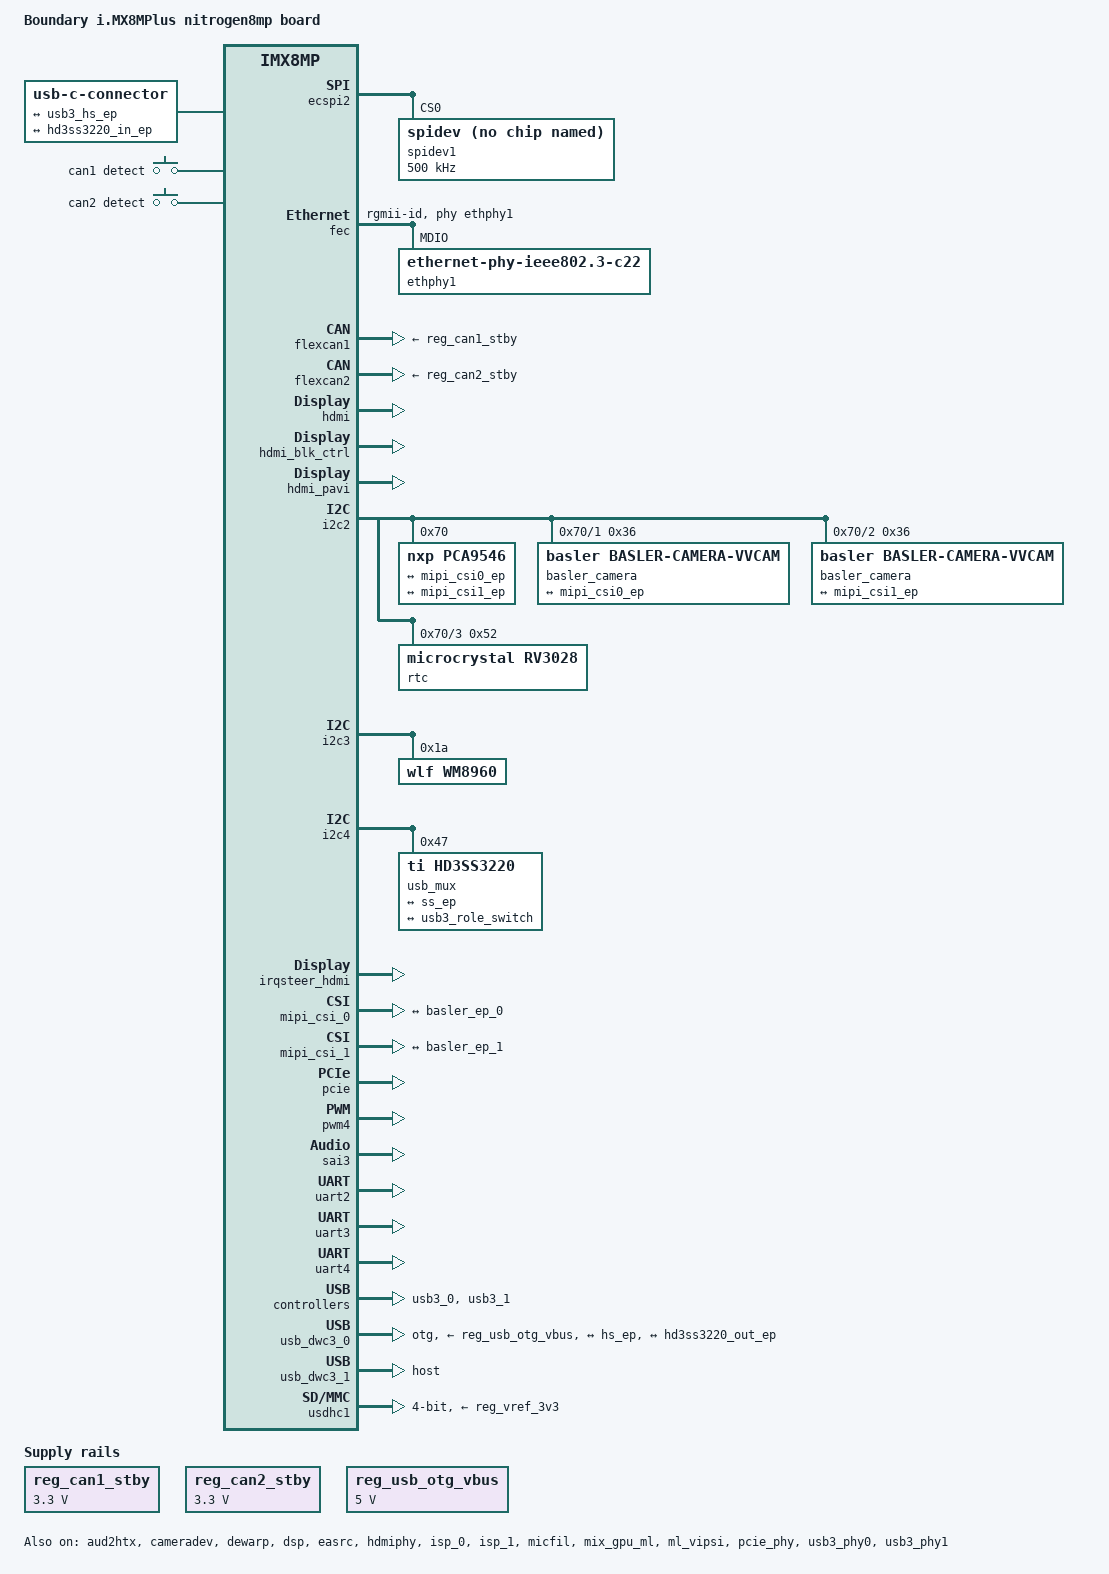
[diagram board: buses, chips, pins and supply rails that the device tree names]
// SPDX-License-Identifier: (GPL-2.0+ OR MIT)
/*
 * Copyright 2020 Boundary Devices
 */

/dts-v1/;

#include <dt-bindings/usb/pd.h>
#include "imx8mp-nitrogen8mp-som.dtsi"

&iomuxc {
	pinctrl-names = "default";
	pinctrl-0 = <&pinctrl_hog>;

	pinctrl_ecspi2: ecspi2grp {
		fsl,pins = <
			/* J31 */
			MX8MP_IOMUXC_ECSPI2_SCLK__ECSPI2_SCLK		0x82	/* Pin 20 */
			MX8MP_IOMUXC_ECSPI2_MOSI__ECSPI2_MOSI		0x82	/* Pin 10 */
			MX8MP_IOMUXC_ECSPI2_MISO__ECSPI2_MISO		0x82	/* Pin 8 */
#define GP_ECSPI2_CS	<&gpio5 13 GPIO_ACTIVE_LOW>
			MX8MP_IOMUXC_ECSPI2_SS0__GPIO5_IO13		0x143	/* Pin 6 */
		>;
	};

	pinctrl_fec: fecgrp {
		fsl,pins = <
			MX8MP_IOMUXC_SAI1_RXD2__ENET1_MDC		0x0
			MX8MP_IOMUXC_SAI1_RXD3__ENET1_MDIO		0xa0
			MX8MP_IOMUXC_SAI1_TXD4__ENET1_RGMII_TX_CTL	0x1f
			MX8MP_IOMUXC_SAI1_TXD5__ENET1_RGMII_TXC		0x1f
			MX8MP_IOMUXC_SAI1_TXD0__ENET1_RGMII_TD0		0x1f
			MX8MP_IOMUXC_SAI1_TXD1__ENET1_RGMII_TD1		0x1f
			MX8MP_IOMUXC_SAI1_TXD2__ENET1_RGMII_TD2		0x1f
			MX8MP_IOMUXC_SAI1_TXD3__ENET1_RGMII_TD3		0x1f

			MX8MP_IOMUXC_SAI1_TXFS__ENET1_RGMII_RX_CTL	0x91
			MX8MP_IOMUXC_SAI1_TXC__ENET1_RGMII_RXC		0x91
			MX8MP_IOMUXC_SAI1_RXD4__ENET1_RGMII_RD0		0x91
			MX8MP_IOMUXC_SAI1_RXD5__ENET1_RGMII_RD1		0x91
			MX8MP_IOMUXC_SAI1_RXD6__ENET1_RGMII_RD2		0x91
			MX8MP_IOMUXC_SAI1_RXD7__ENET1_RGMII_RD3		0x91
#define GP_FEC_RESET	<&gpio5 8 GPIO_ACTIVE_LOW>
			MX8MP_IOMUXC_ECSPI1_MISO__GPIO5_IO08		0x100
#define GPIRQ_FEC_PHY	<&gpio1 7 IRQ_TYPE_LEVEL_LOW>
			MX8MP_IOMUXC_GPIO1_IO07__GPIO1_IO07		0x10
		>;
	};

	pinctrl_flexcan1: flexcan1grp {
		fsl,pins = <
			MX8MP_IOMUXC_SAI5_RXD2__CAN1_RX		0x154
			MX8MP_IOMUXC_SAI5_RXD1__CAN1_TX		0x154
		>;
	};

	pinctrl_flexcan1_reg: flexcan1reggrp {
		fsl,pins = <
#define GP_CAN1_STANDBY	<&gpio3 20 GPIO_ACTIVE_HIGH>
			MX8MP_IOMUXC_SAI5_RXC__GPIO3_IO20	0x154	/* CAN1_STBY */
		>;
	};

	pinctrl_flexcan2: flexcan2grp {
		fsl,pins = <
			MX8MP_IOMUXC_SAI5_MCLK__CAN2_RX		0x154
			MX8MP_IOMUXC_SAI5_RXD3__CAN2_TX		0x154
		>;
	};

	pinctrl_flexcan2_reg: flexcan2reggrp {
		fsl,pins = <
#define GP_CAN2_STANDBY	<&gpio2 9 GPIO_ACTIVE_HIGH>
			MX8MP_IOMUXC_SD1_DATA7__GPIO2_IO09	0x154	/* CAN2_STBY */
		>;
	};

	pinctrl_key_can1: key-can1grp {
		fsl,pins = <
#define GP_CAN1_DETECT		<&gpio1 11 GPIO_ACTIVE_HIGH>
			MX8MP_IOMUXC_GPIO1_IO11__GPIO1_IO11	0x16
		>;
	};

	pinctrl_key_can2: key-can2grp {
		fsl,pins = <
#define GP_CAN2_DETECT		<&gpio4 23 GPIO_ACTIVE_HIGH>
			MX8MP_IOMUXC_SAI2_RXD0__GPIO4_IO23	0x180
		>;
	};

	pinctrl_hog: hoggrp {
		fsl,pins = <
			MX8MP_IOMUXC_HDMI_DDC_SCL__HDMIMIX_HDMI_SCL	0x400001c3
			MX8MP_IOMUXC_HDMI_DDC_SDA__HDMIMIX_HDMI_SDA	0x400001c3
			MX8MP_IOMUXC_HDMI_HPD__HDMIMIX_HDMI_HPD		0x40000019
			MX8MP_IOMUXC_HDMI_CEC__HDMIMIX_HDMI_CEC		0x40000019
			MX8MP_IOMUXC_NAND_DATA01__GPIO3_IO07		0x119
			/* J31 */
			MX8MP_IOMUXC_SPDIF_RX__GPIO5_IO04		0x41	/* Pin 17 */
			MX8MP_IOMUXC_SPDIF_EXT_CLK__GPIO5_IO05		0x41	/* Pin 19 */
			MX8MP_IOMUXC_SPDIF_TX__GPIO5_IO03		0x41	/* Pin 21 */
			MX8MP_IOMUXC_SD1_RESET_B__GPIO2_IO10		0x41	/* Pin 23 */
			MX8MP_IOMUXC_SD1_DATA6__GPIO2_IO08		0x41	/* Pin 25 */
			MX8MP_IOMUXC_SD1_DATA5__GPIO2_IO07		0x41	/* Pin 29 */
			MX8MP_IOMUXC_SD1_DATA4__GPIO2_IO06		0x41	/* Pin 31 */
			MX8MP_IOMUXC_SAI1_MCLK__GPIO4_IO20		0x16	/* Pin 2 */
			MX8MP_IOMUXC_SAI1_TXD7__GPIO4_IO19		0x1c4	/* Pin 4 */
		>;
	};

	pinctrl_i2c2_pca9546: i2c2-pca9546grp {
		fsl,pins = <
#define GP_PCA9546_RESET	<&gpio1 5 GPIO_ACTIVE_LOW>
			MX8MP_IOMUXC_GPIO1_IO05__GPIO1_IO05        	0x100
		>;
	};

	pinctrl_i2c2d_rv3028: i2c2d-rv3028grp {
		fsl,pins = <
#define GPIRQ_RV3028		<&gpio1 4 IRQ_TYPE_LEVEL_LOW>
			MX8MP_IOMUXC_GPIO1_IO04__GPIO1_IO04		0x1c0
		>;
	};

	pinctrl_i2c4_hd3ss3220: i2c4-hd3ss3220grp {
		fsl,pins = <
#define GPIRQ_HD3SS3220	<&gpio1 8 IRQ_TYPE_LEVEL_LOW>
			MX8MP_IOMUXC_GPIO1_IO08__GPIO1_IO08		0x16
			MX8MP_IOMUXC_SAI1_RXD0__GPIO4_IO02		0x03
		>;
	};

	pinctrl_pdm: pdmgrp {
		fsl,pins = <
			MX8MP_IOMUXC_SAI1_RXC__AUDIOMIX_PDM_CLK			0xd6
			MX8MP_IOMUXC_SAI3_RXFS__AUDIOMIX_PDM_BIT_STREAM00	0xd6
		>;
	};

	pinctrl_pcie: pciegrp {
		fsl,pins = <
#define GP_PCIE_RESET	<&gpio4 29 GPIO_ACTIVE_LOW>
			MX8MP_IOMUXC_SAI3_RXC__GPIO4_IO29	0x41
#define GP_PCIE_DISABLE	<&gpio4 26 GPIO_ACTIVE_LOW>
			MX8MP_IOMUXC_SAI2_TXD0__GPIO4_IO26	0x41
		>;
	};

	pinctrl_pwm4: pwm4grp {
		fsl,pins = <
			/* J31, pin 36 */
			MX8MP_IOMUXC_SAI5_RXFS__PWM4_OUT	0x116
		>;
	};

	pinctrl_reg_usbotg_vbus: reg-usbotg-vbusgrp {
		fsl,pins = <
#define GP_REG_USB_OTG_VBUS	<&gpio1 12 GPIO_ACTIVE_HIGH>
			MX8MP_IOMUXC_GPIO1_IO12__GPIO1_IO12	0x16
		>;
	};

	pinctrl_sai3: sai3grp {
		fsl,pins = <
			/* WM8960 */
			MX8MP_IOMUXC_SAI3_TXFS__AUDIOMIX_SAI3_TX_SYNC	0xd6
			MX8MP_IOMUXC_SAI3_TXC__AUDIOMIX_SAI3_TX_BCLK	0xd6
			MX8MP_IOMUXC_SAI3_RXD__AUDIOMIX_SAI3_RX_DATA00	0xd6
			MX8MP_IOMUXC_SAI3_TXD__AUDIOMIX_SAI3_TX_DATA00	0xd6
			MX8MP_IOMUXC_SAI3_MCLK__AUDIOMIX_SAI3_MCLK	0xd6
		>;
	};

	pinctrl_sound_wm8960: sound-wm8960grp {
		fsl,pins = <
#define GP_WM8960_MIC_DET	<&gpio4 18 GPIO_ACTIVE_LOW>
			MX8MP_IOMUXC_SAI1_TXD6__GPIO4_IO18	0x1c0
#define GP_WM8960_HP_DET	<&gpio1 14 GPIO_ACTIVE_HIGH>
			MX8MP_IOMUXC_GPIO1_IO14__GPIO1_IO14	0x80
		>;
	};

	pinctrl_uart2: uart2grp {
		fsl,pins = <
			MX8MP_IOMUXC_UART2_RXD__UART2_DCE_RX	0x140
			MX8MP_IOMUXC_UART2_TXD__UART2_DCE_TX	0x140
		>;
	};

	pinctrl_uart3: uart3grp {
		fsl,pins = <
			MX8MP_IOMUXC_ECSPI1_SCLK__UART3_DCE_RX	0x140
			MX8MP_IOMUXC_ECSPI1_MOSI__UART3_DCE_TX	0x140
		>;
	};

	pinctrl_uart4: uart4grp {
		fsl,pins = <
			MX8MP_IOMUXC_UART4_RXD__UART4_DCE_RX	0x140
			MX8MP_IOMUXC_UART4_TXD__UART4_DCE_TX	0x140
		>;
	};

	pinctrl_usb3_0: usb3-0grp {
		fsl,pins = <
			MX8MP_IOMUXC_GPIO1_IO13__USB1_OC	0x1c0
		>;
	};

	pinctrl_usb3_1: usb3-1grp {
		fsl,pins = <
#define GP_USB3_1_HUB_RESET	<&gpio1 6 GPIO_ACTIVE_LOW>
			MX8MP_IOMUXC_GPIO1_IO06__GPIO1_IO06	0x16
		>;
	};

	pinctrl_usdhc1: usdhc1grp {
		fsl,pins = <
			MX8MP_IOMUXC_SD1_CLK__USDHC1_CLK	0x190
			MX8MP_IOMUXC_SD1_CMD__USDHC1_CMD	0x1d0
			MX8MP_IOMUXC_SD1_DATA0__USDHC1_DATA0	0x1d0
			MX8MP_IOMUXC_SD1_DATA1__USDHC1_DATA1	0x1d0
			MX8MP_IOMUXC_SD1_DATA2__USDHC1_DATA2	0x1d0
			MX8MP_IOMUXC_SD1_DATA3__USDHC1_DATA3	0x1d0
			MX8MP_IOMUXC_GPIO1_IO03__USDHC1_VSELECT	0x116
		>;
	};

	pinctrl_usdhc1_100mhz: usdhc1grp-100mhz {
		fsl,pins = <
			MX8MP_IOMUXC_SD1_CLK__USDHC1_CLK	0x194
			MX8MP_IOMUXC_SD1_CMD__USDHC1_CMD	0x1d4
			MX8MP_IOMUXC_SD1_DATA0__USDHC1_DATA0	0x1d4
			MX8MP_IOMUXC_SD1_DATA1__USDHC1_DATA1	0x1d4
			MX8MP_IOMUXC_SD1_DATA2__USDHC1_DATA2	0x1d4
			MX8MP_IOMUXC_SD1_DATA3__USDHC1_DATA3	0x1d4
		>;
	};

	pinctrl_usdhc1_200mhz: usdhc1grp-200mhz {
		fsl,pins = <
			MX8MP_IOMUXC_SD1_CLK__USDHC1_CLK	0x196
			MX8MP_IOMUXC_SD1_CMD__USDHC1_CMD	0x1d6
			MX8MP_IOMUXC_SD1_DATA0__USDHC1_DATA0	0x1d6
			MX8MP_IOMUXC_SD1_DATA1__USDHC1_DATA1	0x1d6
			MX8MP_IOMUXC_SD1_DATA2__USDHC1_DATA2	0x1d6
			MX8MP_IOMUXC_SD1_DATA3__USDHC1_DATA3	0x1d6
		>;
	};

	pinctrl_usdhc1_gpio: usdhc1grp-gpio {
		fsl,pins = <
#define GP_USDHC1_CD	<&gpio2 11 GPIO_ACTIVE_LOW>
			MX8MP_IOMUXC_SD1_STROBE__GPIO2_IO11	0x1c4
		>;
	};
};

/ {
	model = "Boundary i.MX8MPlus nitrogen8mp board";
	compatible = "boundary,imx8mp-nitrogen8mp", "fsl,imx8mp";

	aliases {
		fb_hdmi = &lcdif3;
		usb_mux = &usb_mux;
	};

	chosen {
		stdout-path = &uart2;
	};

	connector {
		compatible = "usb-c-connector";
		label = "USB-C";
		data-role = "dual";

		ports {
			#address-cells = <1>;
			#size-cells = <0>;

			port@0 {
				reg = <0>;
				hs_ep: endpoint {
					remote-endpoint = <&usb3_hs_ep>;
				};
			};

			port@1 {
				reg = <1>;
				ss_ep: endpoint {
					remote-endpoint = <&hd3ss3220_in_ep>;
				};
			};
		};
	};

	gpio_keys: gpio-keys {
		compatible = "gpio-keys";
		pinctrl-names = "default";
		pinctrl-0 = <&pinctrl_key_can1>, <&pinctrl_key_can2>;

		can1 {
			label = "can1 detect";
			gpios = GP_CAN1_DETECT;
			linux,code = <KEY_1>;
		};

		can2 {
			label = "can2 detect";
			gpios = GP_CAN2_DETECT;
			linux,code = <KEY_2>;
		};
	};

	reg_can1_stby: regulator-can1-stby {
		compatible = "regulator-fixed";
		regulator-name = "can1-stby";
		pinctrl-names = "default";
		pinctrl-0 = <&pinctrl_flexcan1_reg>;
		regulator-min-microvolt = <3300000>;
		regulator-max-microvolt = <3300000>;
		gpio = GP_CAN1_STANDBY;
		enable-active-high;
	};

	reg_can2_stby: regulator-can2-stby {
		compatible = "regulator-fixed";
		regulator-name = "can2-stby";
		pinctrl-names = "default";
		pinctrl-0 = <&pinctrl_flexcan2_reg>;
		regulator-min-microvolt = <3300000>;
		regulator-max-microvolt = <3300000>;
		gpio = GP_CAN2_STANDBY;
		enable-active-high;
	};

	reg_usb_otg_vbus: regulator-usb-otg-vbus {
		compatible = "regulator-fixed";
		pinctrl-names = "default";
		pinctrl-0 = <&pinctrl_reg_usbotg_vbus>;
		regulator-name = "usb_otg_vbus";
		regulator-min-microvolt = <5000000>;
		regulator-max-microvolt = <5000000>;
		gpio = GP_REG_USB_OTG_VBUS;
		enable-active-high;
	};

	sound-hdmi {
		compatible = "fsl,imx-audio-hdmi";
		model = "audio-hdmi";
		audio-cpu = <&aud2htx>;
		hdmi-out;
		constraint-rate = <44100>,
				<88200>,
				<176400>,
				<32000>,
				<48000>,
				<96000>,
				<192000>;
		status = "okay";
	};

	sound-wm8960 {
#if 0
		asrc-controller = <&easrc>;
#endif
		audio-codec = <&wm8960>;
		audio-cpu = <&sai3>;
		audio-routing =
			"Headphone Jack", "HP_L",
			"Headphone Jack", "HP_R",
			"Ext Spk", "SPK_LP",
			"Ext Spk", "SPK_LN",
			"Ext Spk", "SPK_RP",
			"Ext Spk", "SPK_RN",
			"LINPUT1", "Main MIC",
			"Main MIC", "MICB",
			"RINPUT1", "Mic Jack",
			"Mic Jack", "MICB";
#if 0
			"CPU-Playback", "ASRC-Playback",
			"Playback", "CPU-Playback",
			"ASRC-Capture", "CPU-Capture",
			"CPU-Capture", "Capture";
#endif
		codec-master;
		compatible = "fsl,imx-audio-wm8960";
		hp-det = <2 0>;
		hp-det-gpio = GP_WM8960_HP_DET;
		mic-det-gpio = GP_WM8960_MIC_DET;
		model = "wm8960-audio";
		pinctrl-names = "default";
		pinctrl-0 = <&pinctrl_sound_wm8960>;
	};

	sound-micfil {
		compatible = "fsl,imx-audio-micfil";
		model = "imx-audio-micfil";
		cpu-dai = <&micfil>;
	};
};

&aud2htx {
	status = "okay";
};

&cameradev {
	status = "okay";
};

&dewarp {
	status = "okay";
};

&dsp {
	status = "okay";
};

&easrc {
	fsl,asrc-rate  = <48000>;
	status = "okay";
};

&ecspi2 {
	#address-cells = <1>;
	#size-cells = <0>;
	fsl,spi-num-chipselects = <1>;
	pinctrl-names = "default";
	pinctrl-0 = <&pinctrl_ecspi2>;
	cs-gpios = GP_ECSPI2_CS;
	status = "okay";

	spidev1: spi@0 {
		compatible = "spidev";
		reg = <0>;
		spi-max-frequency = <500000>;
	};
};

&fec {
	pinctrl-names = "default";
	pinctrl-0 = <&pinctrl_fec>;
#if 0
	phy-reset-gpios = GP_FEC_RESET;
#endif
	phy-mode = "rgmii-id";
	phy-handle = <&ethphy1>;
	fsl,magic-packet;
	status = "okay";

	mdio {
		#address-cells = <1>;
		#size-cells = <0>;

		ethphy1: ethernet-phy {
			compatible = "ethernet-phy-ieee802.3-c22";
			eee-broken-1000t;
			interrupts-extended = GPIRQ_FEC_PHY;
			reg-mask = <0x90>;
		};
	};
};

&flexcan1 {
	pinctrl-names = "default";
	pinctrl-0 = <&pinctrl_flexcan1>;
	xceiver-supply = <&reg_can1_stby>;
	status = "okay";
};

&flexcan2 {
	pinctrl-names = "default";
	pinctrl-0 = <&pinctrl_flexcan2>;
	xceiver-supply = <&reg_can2_stby>;
	status = "okay";
};

&hdmi {
	status = "okay";
};

&hdmiphy {
	status = "okay";
};

&hdmi_blk_ctrl {
	status = "okay";
};

&hdmi_pavi {
	status = "okay";
};

&i2c2 {
	pca9546: i2cmux9546@70 {
		pinctrl-names = "default";
		pinctrl-0 = <&pinctrl_i2c2_pca9546>;
		compatible = "nxp,pca9546";
		reg = <0x70>;
		reset-gpios = GP_PCA9546_RESET;
		#address-cells = <1>;
		#size-cells = <0>;

		i2c2a: i2c2@0 {
			clock-frequency = <100000>;
			reg = <0>;
			#address-cells = <1>;
			#size-cells = <0>;
		};

		i2c2b: i2c2@1 {
			/* J9  - camera*/
			clock-frequency = <100000>;
			reg = <1>;
			#address-cells = <1>;
			#size-cells = <0>;
			/* edid  @50 */
		};

		i2c2c: i2c2@2 {
			/* J10 - camera */
			clock-frequency = <100000>;
			reg = <2>;
			#address-cells = <1>;
			#size-cells = <0>;
		};

		i2c2d: i2c2@3 {
			/* rtc, J11 mipi */
			clock-frequency = <100000>;
			reg = <3>;
			#address-cells = <1>;
			#size-cells = <0>;
		};
	};
};

&i2c2b {
	basler_camera@36 {
		compatible = "basler,basler-camera-vvcam", "basler-camera-vvcam";
		reg = <0x36>;
		csi_id = <0x00>;
		status = "okay";

		port {
			basler_ep_0: endpoint {
				clock-lanes = <0>;
				data-lanes = <1 2 3 4>;
				link-frequencies = /bits/ 64 <750000000>;
				max-lane-frequency = /bits/ 64 <750000000>;
				max-pixel-frequency = /bits/ 64 <266000000>;
				max-data-rate = /bits/ 64 <0>;
				remote-endpoint = <&mipi_csi0_ep>;
			};
		};
	};
};

&i2c2c {
	basler_camera@36 {
		compatible = "basler,basler-camera-vvcam", "basler-camera-vvcam";
		reg = <0x36>;
		csi_id = <0x01>;
		status = "okay";

		port {
			basler_ep_1: endpoint {
				clock-lanes = <0>;
				data-lanes = <1 2 3 4>;
				link-frequencies = /bits/ 64 <750000000>;
				max-lane-frequency = /bits/ 64 <750000000>;
				max-pixel-frequency = /bits/ 64 <266000000>;
				max-data-rate = /bits/ 64 <0>;
				remote-endpoint = <&mipi_csi1_ep>;
			};
		};
	};
};

&i2c2d {
	rtc@52 {
		backup-switchover-dsm;
		compatible = "microcrystal,rv3028";
		pinctrl-names = "default";
		pinctrl-0 = <&pinctrl_i2c2d_rv3028>;
		reg = <0x52>;
		interrupts-extended = GPIRQ_RV3028;
		wakeup-source;
	};
};

&i2c3 {
	wm8960: codec@1a {
		clock-names = "mclk";
		clocks = <&audio_blk_ctrl IMX8MP_CLK_AUDIO_BLK_CTRL_SAI3_MCLK1>;
		compatible = "wlf,wm8960";
		reg = <0x1a>;
		wlf,gpio-cfg = <1 3>;
		/* JD2: hp detect high for headphone*/
		wlf,hp-cfg = <2 0 3>;
		wlf,shared-lrclk;
	};
};

&i2c4 {
	usb_mux: hd3ss3220@47 {
		/* tusb320 is compatible with hd3ss3220 */
		compatible = "ti,hd3ss3220";
		interrupts-extended = GPIRQ_HD3SS3220;
		pinctrl-names = "default";
		pinctrl-0 = <&pinctrl_i2c4_hd3ss3220>;
		reg = <0x47>;

		ports {
			#address-cells = <1>;
			#size-cells = <0>;

			port@0 {
				reg = <0>;
				hd3ss3220_in_ep: endpoint {
					remote-endpoint = <&ss_ep>;
				};
			};

			port@1 {
				reg = <1>;
				hd3ss3220_out_ep: endpoint {
					remote-endpoint = <&usb3_role_switch>;
				};
			};
		};
	};
};

&irqsteer_hdmi {
	status = "okay";
};

&isp_0 {
	status = "okay";
};

&isp_1 {
	status = "okay";
};

&micfil {
	pinctrl-names = "default";
	pinctrl-0 = <&pinctrl_pdm>;
	assigned-clocks = <&clk IMX8MP_CLK_PDM>;
	assigned-clock-parents = <&clk IMX8MP_AUDIO_PLL1_OUT>;
	assigned-clock-rates = <196608000>;
	status = "okay";
};

&mipi_csi_0 {
	#address-cells = <1>;
	#size-cells = <0>;
	status = "okay";

	port@0 {
		reg = <0>;

		mipi_csi0_ep: endpoint {
			csis-clk-settle = <2>;
			csis-hs-settle = <16>;
			csis-wclk;
			data-lanes = <4>;
			remote-endpoint = <&basler_ep_0>;
		};
	};
};

&mipi_csi_1 {
	#address-cells = <1>;
	#size-cells = <0>;
	status = "okay";

	port@1 {
		reg = <1>;

		mipi_csi1_ep: endpoint {
			csis-clk-settle = <2>;
			csis-hs-settle = <16>;
			csis-wclk;
			data-lanes = <4>;
			remote-endpoint = <&basler_ep_1>;
		};
	};
};

&mix_gpu_ml {
	status = "okay";
};

&ml_vipsi {
	status = "okay";
};

&pcie {
	assigned-clocks = <&clk IMX8MP_CLK_HSIO_AXI>,
			  <&clk IMX8MP_CLK_PCIE_AUX>;
	assigned-clock-parents = <&clk IMX8MP_SYS_PLL2_500M>,
				 <&clk IMX8MP_SYS_PLL2_50M>;
	assigned-clock-rates = <500000000>, <10000000>;
	clocks = <&clk IMX8MP_CLK_HSIO_ROOT>,
		 <&clk IMX8MP_CLK_PCIE_AUX>,
		 <&clk IMX8MP_CLK_HSIO_AXI>,
		 <&clk IMX8MP_CLK_PCIE_ROOT>;
	clock-names = "pcie", "pcie_aux", "pcie_phy", "pcie_bus";
	disable-gpio = GP_PCIE_DISABLE;
	ext_osc = <0>;
	pinctrl-names = "default";
	pinctrl-0 = <&pinctrl_pcie>;
	reset-gpio = GP_PCIE_RESET;
	status = "okay";
};

&pcie_phy {
	clk_mode = <3>;
	ext_osc = <1>;
	status = "okay";
};

&pwm4 {
	pinctrl-names = "default";
	pinctrl-0 = <&pinctrl_pwm4>;
	status = "okay";
};

&sai3 {
	pinctrl-names = "default";
	pinctrl-0 = <&pinctrl_sai3>;
	assigned-clocks = <&clk IMX8MP_CLK_SAI3>;
	assigned-clock-parents = <&clk IMX8MP_AUDIO_PLL1_OUT>;
	assigned-clock-rates = <12288000>;
	clocks = <&audio_blk_ctrl IMX8MP_CLK_AUDIO_BLK_CTRL_SAI3_IPG>, <&clk IMX8MP_CLK_DUMMY>,
		 <&audio_blk_ctrl IMX8MP_CLK_AUDIO_BLK_CTRL_SAI3_MCLK1>, <&clk IMX8MP_CLK_DUMMY>,
		 <&clk IMX8MP_CLK_DUMMY>;
	clock-names = "bus", "mclk0", "mclk1", "mclk2", "mclk3";
	fsl,sai-mclk-direction-output;
	status = "okay";
};

&uart2 {
	/* console */
	pinctrl-names = "default";
	pinctrl-0 = <&pinctrl_uart2>;
	status = "okay";
};

&uart3 {
	pinctrl-names = "default";
	pinctrl-0 = <&pinctrl_uart3>;
	assigned-clocks = <&clk IMX8MP_CLK_UART3>;
	assigned-clock-parents = <&clk IMX8MP_SYS_PLL1_80M>;
	status = "okay";
};

&uart4 {
	pinctrl-names = "default";
	pinctrl-0 = <&pinctrl_uart4>;
	assigned-clocks = <&clk IMX8MP_CLK_UART4>;
	assigned-clock-parents = <&clk IMX8MP_SYS_PLL1_80M>;
	status = "okay";
};

&usb3_0 {
	fsl,over-current-active-low;
	status = "okay";
};

&usb3_1 {
	status = "okay";
};

&usb_dwc3_0 {
	dr_mode = "otg";
	pinctrl-names = "default";
	pinctrl-0 = <&pinctrl_usb3_0>;
	status = "okay";
	usb-role-switch;
	vbus-supply = <&reg_usb_otg_vbus>;

	ports {
		#address-cells = <1>;
		#size-cells = <0>;

		port@0 {
			reg = <0>;
			usb3_hs_ep: endpoint {
				remote-endpoint = <&hs_ep>;
			};
		};

		port@1 {
			reg = <1>;
			usb3_role_switch: endpoint {
				remote-endpoint = <&hd3ss3220_out_ep>;
			};
		};
	};
};

&usb_dwc3_1 {
	dr_mode = "host";
	pinctrl-names = "default";
	pinctrl-0 = <&pinctrl_usb3_1>;
	reset-gpios = GP_USB3_1_HUB_RESET;
	status = "okay";
};

&usb3_phy0 {
	fsl,phy-tx-preemp-amp-tune = <2>;
	status = "okay";
	vbus-supply = <&reg_vref_5v0>;
};

&usb3_phy1 {
	fsl,phy-tx-preemp-amp-tune = <2>;
	status = "okay";
	vbus-supply = <&reg_vref_5v0>;
};

&usdhc1 {
	bus-width = <4>;
	cd-gpios = GP_USDHC1_CD;
	pinctrl-names = "default", "state_100mhz", "state_200mhz";
	pinctrl-0 = <&pinctrl_usdhc1>, <&pinctrl_usdhc1_gpio>;
	pinctrl-1 = <&pinctrl_usdhc1_100mhz>, <&pinctrl_usdhc1_gpio>;
	pinctrl-2 = <&pinctrl_usdhc1_200mhz>, <&pinctrl_usdhc1_gpio>;
	status = "okay";
	vmmc-supply = <&reg_vref_3v3>;
};

/* J11 mipi display */
#define MIPI_DISPLAY		lcdif1
#define MIPI_SUBSYSTEM		display_subsystem
#define MIPI_I2C_BUS		i2c2d
#define SKIP_LONTIUM_DAUGHTER_BOARDS		/* MIPI_I2C_BUS is already behind i2cmux */
#define MIPI_PWM		pwm1
#define MIPI_PHY_CLOCK		<&mipi_dsi 0>
#define MIPI_PIXEL_CLOCK	<&clk IMX8MP_CLK_MEDIA_DISP1_PIX_ROOT>

#define MIPI_PWM_GP		gpio1 1
#define MIPI_PWM_PAD		MX8MP_IOMUXC_GPIO1_IO01__PWM1_OUT
#define MIPI_PWM_PAD_GPIO	MX8MP_IOMUXC_GPIO1_IO01__GPIO1_IO01	/* Pin 7 */

#define MIPI_IRQ_GP		gpio4 0
#define MIPI_IRQ_PAD		MX8MP_IOMUXC_SAI1_RXFS__GPIO4_IO00	/* Pin 8 */

#define MIPI_TS_IRQ_GP		gpio4 25
#define MIPI_TS_IRQ_PAD		MX8MP_IOMUXC_SAI2_TXC__GPIO4_IO25	/* Pin 9 */

#define MIPI_TS_RESET_GP	gpio4 24
#define MIPI_TS_RESET_PAD	MX8MP_IOMUXC_SAI2_TXFS__GPIO4_IO24	/* Pin 10 */

#define MIPI_ENABLE_GP		gpio4 27
#define MIPI_ENABLE_PAD		MX8MP_IOMUXC_SAI2_MCLK__GPIO4_IO27	/* Pin 11 */

#define PAD_NOPULL		0x0
#define PAD_PULLDN		0x100
#define PAD_PULLUP		0x140
#define PAD_PULLDNIRQ		0x180
#define PAD_PULLUPIRQ		0x1c0
#include "nitrogen-mipi-dsi.dtsi"

#define LVDS_DISPLAY		lcdif2
#define LVDS_PWM		pwm2
/* J28 pin 20 LVDS display, J27 pin 20 LVDS2 display */
#define LVDS_PWM_PAD(a)		MX8MP_IOMUXC_GPIO1_IO09__PWM2_OUT a MX8MP_IOMUXC_SAI5_RXD0__PWM2_OUT a

#define LVDS_BACKLIGHT_GP	gpio4 22
#define LVDS_BACKLIGHT_PAD	MX8MP_IOMUXC_SAI2_RXC__GPIO4_IO22

#define LVDS2_BACKLIGHT_GP	gpio4 21
#define LVDS2_BACKLIGHT_PAD	MX8MP_IOMUXC_SAI2_RXFS__GPIO4_IO21

#define LVDS_TS_IRQ_GP		gpio1 10
#define LVDS_TS_IRQ_PAD		MX8MP_IOMUXC_GPIO1_IO10__GPIO1_IO10

/* No pad associated with gpio3 30 */
#define LVDS_TS_RESET_GP	gpio3 30
#define LVDS_TS_RESET_PAD(a)
#define LVDS_NO_TS_RESET
#include "nitrogen-lvds.dtsi"

/ {
	aliases {
		/* Old style aliases (without lvds) for older u-boots */
		/* Delete upon next branch */
		ts_atmel_mt = &ts_lvds_atmel_mt;
		ts_egalax = &ts_lvds_egalax;
		ts_ft5x06_2 = &ts_lvds_ft5x06;
		ts_goodix2 = &ts_lvds_goodix;
		ts_goodix3 = &ts_lvds_goodix2;
		ts_ili251x = &ts_lvds_ili251x;
	};
};
